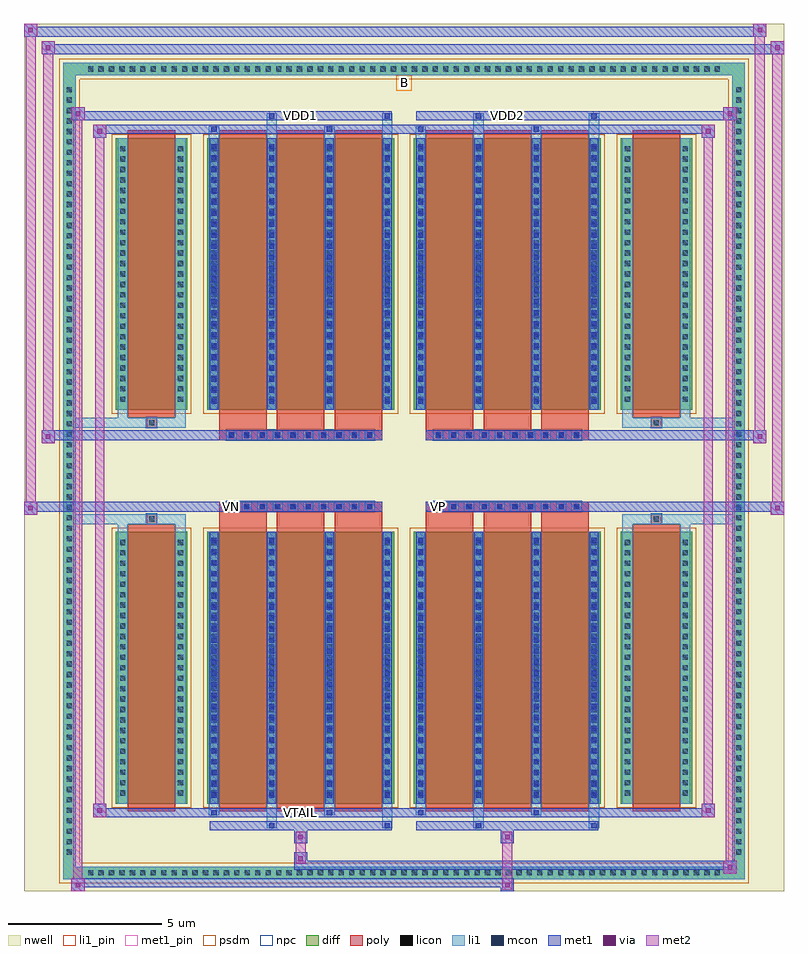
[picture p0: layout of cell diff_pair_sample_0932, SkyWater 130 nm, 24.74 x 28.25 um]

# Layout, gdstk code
import gdstk
lib = gdstk.Library(unit=1e-6, precision=5e-09)
def R(c, l, rs):  # rectangles x0, y0, x1, y1
    for r in rs: c.add(gdstk.rectangle(r[:2], r[2:], *l))
def A(c, l, x, y, w, h, nx, ny, dx, dy):  # array of equal rectangles
    R(c, l, [(x+i*dx, y+j*dy, x+i*dx+w, y+j*dy+h) for i in range(nx) for j in range(ny)])
def P(c, l, *ps):  # polygons
    for p in ps: c.add(gdstk.Polygon(p, *l))
nwell = (64, 20)
diff = (65, 20)
poly = (66, 20)
licon = (66, 44)
li1_pin = (67, 16)
li1 = (67, 20)
mcon = (67, 44)
met1_pin = (68, 16)
met1 = (68, 20)
via = (68, 44)
met2 = (69, 20)
psdm = (94, 20)
npc = (95, 20)

diff_pair_sample_0932 = lib.new_cell('diff_pair_sample_0932')
R(diff_pair_sample_0932, nwell, [(-12.37,-13.69,12.37,14.56), (-9.69,-11.88,-0.01,-0.8), (0.01,-11.88,9.69,-0.8), (-9.69,0.8,-0.01,11.88), (0.01,0.8,9.69,11.88)])
A(diff_pair_sample_0932, diff, -10.405, -13.29, 0.41, 0.41, 61, 2, 0.34, 26.17)
A(diff_pair_sample_0932, diff, -11.1, -12.615, 0.41, 0.41, 1, 74, 0, 0.34)
A(diff_pair_sample_0932, diff, 10.69, -12.615, 0.41, 0.41, 1, 74, 0, 0.34)
R(diff_pair_sample_0932, diff, [(-10.405,-13.29,10.405,-12.88), (-11.1,-12.615,-10.69,12.615), (10.69,-12.615,11.1,12.615), (-9.38,-10.835,-7.05,-1.985), (-6.41,-10.835,-0.32,-1.985), (0.32,-10.835,6.41,-1.985), (7.05,-10.835,9.38,-1.985), (-9.38,1.985,-7.05,10.835), (-6.41,1.985,-0.32,10.835), (0.32,1.985,6.41,10.835), (7.05,1.985,9.38,10.835), (-10.405,12.88,10.405,13.29)])
P(diff_pair_sample_0932, diff, [(11.1,13.29),(-11.1,13.29),(-11.1,-12.88),(-10.69,-12.88),(-10.69,12.88),(10.69,12.88),(10.69,-12.88),(-10.69,-12.88),(-11.1,-12.88),(-11.1,-13.29),(11.1,-13.29)])
A(diff_pair_sample_0932, poly, -6.02, -11.085, 1.55, 9.35, 3, 2, 1.88, 12.82)
A(diff_pair_sample_0932, poly, 0.71, -11.085, 1.55, 9.35, 3, 2, 1.88, 12.82)
A(diff_pair_sample_0932, poly, -6.02, -1.735, 1.55, 0.405, 3, 2, 1.88, 3.065)
A(diff_pair_sample_0932, poly, 0.71, -1.735, 1.55, 0.405, 3, 2, 1.88, 3.065)
A(diff_pair_sample_0932, poly, -5.78, -1.33, 0.33, 0.33, 10, 2, 0.5, 2.33)
A(diff_pair_sample_0932, poly, 0.95, -1.33, 0.33, 0.33, 10, 2, 0.5, 2.33)
R(diff_pair_sample_0932, poly, [(-8.99,-11.085,-7.44,-1.735), (7.44,-11.085,8.99,-1.735), (-8.38,-1.735,-8.05,-1.405), (-8.38,-1.735,-8.05,-1.405), (8.05,-1.735,8.38,-1.405), (8.05,-1.735,8.38,-1.405), (-6.02,-1.33,-0.71,-1), (0.71,-1.33,6.02,-1), (-6.02,1,-0.71,1.33), (0.71,1,6.02,1.33), (-8.38,1.405,-8.05,1.735), (-8.38,1.405,-8.05,1.735), (8.05,1.405,8.38,1.735), (8.05,1.405,8.38,1.735), (-8.99,1.735,-7.44,11.085), (7.44,1.735,8.99,11.085)])
A(diff_pair_sample_0932, licon, -10.285, -13.17, 0.17, 0.17, 61, 2, 0.34, 26.17)
A(diff_pair_sample_0932, licon, -10.98, -12.495, 0.17, 0.17, 1, 74, 0, 0.34)
A(diff_pair_sample_0932, licon, 10.81, -12.495, 0.17, 0.17, 1, 74, 0, 0.34)
A(diff_pair_sample_0932, licon, -9.24, -10.575, 0.17, 0.17, 1, 25, 0, 0.34)
A(diff_pair_sample_0932, licon, -7.36, -10.575, 0.17, 0.17, 1, 25, 0, 0.34)
A(diff_pair_sample_0932, licon, -6.27, -10.575, 0.17, 0.17, 4, 25, 1.88, 0.34)
A(diff_pair_sample_0932, licon, 0.46, -10.575, 0.17, 0.17, 4, 25, 1.88, 0.34)
A(diff_pair_sample_0932, licon, 7.19, -10.575, 0.17, 0.17, 1, 25, 0, 0.34)
A(diff_pair_sample_0932, licon, 9.07, -10.575, 0.17, 0.17, 1, 25, 0, 0.34)
A(diff_pair_sample_0932, licon, -5.7, -1.25, 0.17, 0.17, 10, 2, 0.5, 2.33)
A(diff_pair_sample_0932, licon, 1.03, -1.25, 0.17, 0.17, 10, 2, 0.5, 2.33)
A(diff_pair_sample_0932, licon, -9.24, 2.245, 0.17, 0.17, 1, 25, 0, 0.34)
A(diff_pair_sample_0932, licon, -7.36, 2.245, 0.17, 0.17, 1, 25, 0, 0.34)
A(diff_pair_sample_0932, licon, -6.27, 2.245, 0.17, 0.17, 4, 25, 1.88, 0.34)
A(diff_pair_sample_0932, licon, 0.46, 2.245, 0.17, 0.17, 4, 25, 1.88, 0.34)
A(diff_pair_sample_0932, licon, 7.19, 2.245, 0.17, 0.17, 1, 25, 0, 0.34)
A(diff_pair_sample_0932, licon, 9.07, 2.245, 0.17, 0.17, 1, 25, 0, 0.34)
R(diff_pair_sample_0932, licon, [(-8.3,-1.655,-8.13,-1.485), (8.13,-1.655,8.3,-1.485), (-8.3,1.485,-8.13,1.655), (8.13,1.485,8.3,1.655)])
R(diff_pair_sample_0932, li1_pin, [(-0.25,12.38,0.25,12.88)])
A(diff_pair_sample_0932, li1, -10.365, -13.25, 0.33, 0.33, 61, 2, 0.34, 26.17)
A(diff_pair_sample_0932, li1, -11.06, -12.575, 0.33, 0.33, 1, 74, 0, 0.34)
A(diff_pair_sample_0932, li1, 10.73, -12.575, 0.33, 0.33, 1, 74, 0, 0.34)
A(diff_pair_sample_0932, li1, -6.35, -10.835, 0.33, 8.85, 4, 2, 1.88, 12.82)
A(diff_pair_sample_0932, li1, 0.38, -10.835, 0.33, 8.85, 4, 2, 1.88, 12.82)
A(diff_pair_sample_0932, li1, -9.32, -10.655, 0.33, 0.33, 1, 25, 0, 0.34)
A(diff_pair_sample_0932, li1, -7.44, -10.655, 0.33, 0.33, 1, 25, 0, 0.34)
A(diff_pair_sample_0932, li1, -6.35, -10.655, 0.33, 0.33, 4, 25, 1.88, 0.34)
A(diff_pair_sample_0932, li1, 0.38, -10.655, 0.33, 0.33, 4, 25, 1.88, 0.34)
A(diff_pair_sample_0932, li1, 7.11, -10.655, 0.33, 0.33, 1, 25, 0, 0.34)
A(diff_pair_sample_0932, li1, 8.99, -10.655, 0.33, 0.33, 1, 25, 0, 0.34)
A(diff_pair_sample_0932, li1, -6.27, -10.635, 0.17, 0.17, 4, 24, 1.88, 0.36)
A(diff_pair_sample_0932, li1, -6.27, -10.635, 0.17, 8.45, 4, 2, 1.88, 12.82)
A(diff_pair_sample_0932, li1, 0.46, -10.635, 0.17, 0.17, 4, 24, 1.88, 0.36)
A(diff_pair_sample_0932, li1, 0.46, -10.635, 0.17, 8.45, 4, 2, 1.88, 12.82)
A(diff_pair_sample_0932, li1, -5.78, -1.33, 0.33, 0.33, 10, 2, 0.5, 2.33)
A(diff_pair_sample_0932, li1, 0.95, -1.33, 0.33, 0.33, 10, 2, 0.5, 2.33)
A(diff_pair_sample_0932, li1, -9.32, 2.165, 0.33, 0.33, 1, 25, 0, 0.34)
A(diff_pair_sample_0932, li1, -7.44, 2.165, 0.33, 0.33, 1, 25, 0, 0.34)
A(diff_pair_sample_0932, li1, -6.35, 2.165, 0.33, 0.33, 4, 25, 1.88, 0.34)
A(diff_pair_sample_0932, li1, 0.38, 2.165, 0.33, 0.33, 4, 25, 1.88, 0.34)
A(diff_pair_sample_0932, li1, 7.11, 2.165, 0.33, 0.33, 1, 25, 0, 0.34)
A(diff_pair_sample_0932, li1, 8.99, 2.165, 0.33, 0.33, 1, 25, 0, 0.34)
A(diff_pair_sample_0932, li1, -6.27, 2.185, 0.17, 0.17, 4, 24, 1.88, 0.36)
A(diff_pair_sample_0932, li1, 0.46, 2.185, 0.17, 0.17, 4, 24, 1.88, 0.36)
R(diff_pair_sample_0932, li1, [(-11.1,-13.29,-10.69,-12.88), (-11.1,-13.29,-10.69,-12.88), (-10.69,-13.29,10.69,-12.88), (10.69,-13.29,11.1,-12.88), (10.69,-13.29,11.1,-12.88), (-11.1,-12.88,-10.69,12.88), (10.69,-12.88,11.1,12.88), (-4.47,-11.64,-4.14,-10.835), (-4.39,-11.64,-4.22,-11.47), (-0.71,-11.64,-0.38,-10.835), (-0.63,-11.64,-0.46,-11.47), (2.26,-11.64,2.59,-10.835), (2.34,-11.64,2.51,-11.47), (6.02,-11.64,6.35,-10.835), (6.1,-11.64,6.27,-11.47), (-6.35,-11.21,-6.02,-10.835), (-6.27,-11.21,-6.1,-11.04), (-2.59,-11.21,-2.26,-10.835), (-2.51,-11.21,-2.34,-11.04), (0.38,-11.21,0.71,-10.835), (0.46,-11.21,0.63,-11.04), (4.14,-11.21,4.47,-10.835), (4.22,-11.21,4.39,-11.04), (-9.32,-10.835,-8.99,-1.985), (-7.44,-10.835,-7.11,-1.985), (7.11,-10.835,7.44,-1.985), (8.99,-10.835,9.32,-1.985), (-9.32,-1.985,-8.99,-1.405), (-7.44,-1.985,-7.11,-1.405), (7.11,-1.985,7.44,-1.405), (8.99,-1.985,9.32,-1.405), (-11.1,-1.735,-8.38,-1.405), (-9.32,-1.735,-8.38,-1.405), (-8.38,-1.735,-8.05,-1.405), (-8.05,-1.735,-7.11,-1.405), (7.11,-1.735,8.05,-1.405), (8.05,-1.735,8.38,-1.405), (8.05,-1.735,11.1,-1.405), (8.38,-1.735,9.32,-1.405), (-11.1,1.405,-8.38,1.735), (-9.32,1.405,-8.38,1.735), (-9.32,1.405,-8.99,1.985), (-8.38,1.405,-8.05,1.735), (-8.05,1.405,-7.11,1.735), (-7.44,1.405,-7.11,1.985), (7.11,1.405,8.05,1.735), (7.11,1.405,7.44,1.985), (8.05,1.405,8.38,1.735), (8.05,1.405,11.1,1.735), (8.38,1.405,9.32,1.735), (8.99,1.405,9.32,1.985), (-9.32,1.985,-8.99,10.835), (-7.44,1.985,-7.11,10.835), (7.11,1.985,7.44,10.835), (8.99,1.985,9.32,10.835), (-6.35,10.835,-6.02,11.21), (-4.47,10.835,-4.14,11.64), (-2.59,10.835,-2.26,11.21), (-0.71,10.835,-0.38,11.64), (0.38,10.835,0.71,11.21), (2.26,10.835,2.59,11.64), (4.14,10.835,4.47,11.21), (6.02,10.835,6.35,11.64), (-6.27,11.04,-6.1,11.21), (-2.51,11.04,-2.34,11.21), (0.46,11.04,0.63,11.21), (4.22,11.04,4.39,11.21), (-4.39,11.47,-4.22,11.64), (-0.63,11.47,-0.46,11.64), (2.34,11.47,2.51,11.64), (6.1,11.47,6.27,11.64), (-11.1,12.88,-10.69,13.29), (-11.1,12.88,-10.69,13.29), (-10.69,12.88,10.69,13.29), (10.69,12.88,11.1,13.29), (10.69,12.88,11.1,13.29)])
A(diff_pair_sample_0932, mcon, -6.27, -10.635, 0.17, 0.17, 4, 24, 1.88, 0.36)
A(diff_pair_sample_0932, mcon, 0.46, -10.635, 0.17, 0.17, 4, 24, 1.88, 0.36)
A(diff_pair_sample_0932, mcon, -5.7, -1.25, 0.17, 0.17, 10, 2, 0.5, 2.33)
A(diff_pair_sample_0932, mcon, 1.03, -1.25, 0.17, 0.17, 10, 2, 0.5, 2.33)
A(diff_pair_sample_0932, mcon, -6.27, 2.185, 0.17, 0.17, 4, 24, 1.88, 0.36)
A(diff_pair_sample_0932, mcon, 0.46, 2.185, 0.17, 0.17, 4, 24, 1.88, 0.36)
R(diff_pair_sample_0932, mcon, [(-4.39,-11.64,-4.22,-11.47), (-0.63,-11.64,-0.46,-11.47), (2.34,-11.64,2.51,-11.47), (6.1,-11.64,6.27,-11.47), (-6.27,-11.21,-6.1,-11.04), (-2.51,-11.21,-2.34,-11.04), (0.46,-11.21,0.63,-11.04), (4.22,-11.21,4.39,-11.04), (-6.27,11.04,-6.1,11.21), (-2.51,11.04,-2.34,11.21), (0.46,11.04,0.63,11.21), (4.22,11.04,4.39,11.21), (-4.39,11.47,-4.22,11.64), (-0.63,11.47,-0.46,11.64), (2.34,11.47,2.51,11.64), (6.1,11.47,6.27,11.64)])
R(diff_pair_sample_0932, met1_pin, [(-3.5,-11.25,-3.23,-10.98), (-5.75,-1.29,-5.48,-1.02), (0.98,-1.29,1.25,-1.02), (-3.5,11.43,-3.23,11.7), (3.23,11.43,3.5,11.7)])
A(diff_pair_sample_0932, met1, -6.33, -10.835, 0.29, 8.85, 4, 2, 1.88, 12.82)
A(diff_pair_sample_0932, met1, 0.4, -10.835, 0.29, 8.85, 4, 2, 1.88, 12.82)
A(diff_pair_sample_0932, met1, -6.33, -10.695, 0.29, 0.29, 4, 24, 1.88, 0.36)
A(diff_pair_sample_0932, met1, 0.4, -10.695, 0.29, 0.29, 4, 24, 1.88, 0.36)
A(diff_pair_sample_0932, met1, -5.76, -1.31, 0.29, 0.29, 10, 2, 0.5, 2.33)
A(diff_pair_sample_0932, met1, 0.97, -1.31, 0.29, 0.29, 10, 2, 0.5, 2.33)
A(diff_pair_sample_0932, met1, -6.33, 2.125, 0.29, 0.29, 4, 24, 1.88, 0.36)
A(diff_pair_sample_0932, met1, 0.4, 2.125, 0.29, 0.29, 4, 24, 1.88, 0.36)
R(diff_pair_sample_0932, met1, [(-10.83,-13.69,-10.4,-13.26), (3.15,-13.69,3.58,-13.26), (-10.83,-13.55,3.58,-13.26), (10.4,-13.12,10.83,-12.69), (-3.58,-12.98,10.83,-12.69), (-3.58,-12.84,-3.15,-12.41), (-3.58,-12.13,-3.15,-11.7), (3.15,-12.13,3.58,-11.7), (-6.33,-11.7,-0.4,-11.41), (-4.45,-11.7,-4.16,-11.41), (-0.69,-11.7,-0.4,-11.41), (0.4,-11.7,6.33,-11.41), (2.28,-11.7,2.57,-11.41), (6.04,-11.7,6.33,-11.41), (-10.12,-11.27,-9.69,-10.84), (-10.12,-11.27,-6.33,-10.98), (-6.33,-11.27,-6.04,-10.98), (-6.33,-11.27,-0.4,-10.98), (-2.57,-11.27,-2.28,-10.98), (-0.4,-11.27,0.4,-10.98), (0.4,-11.27,0.69,-10.98), (0.4,-11.27,6.33,-10.98), (4.16,-11.27,4.45,-10.98), (6.33,-11.27,10.12,-10.98), (9.69,-11.27,10.12,-10.84), (-12.37,-1.43,-11.94,-1), (11.94,-1.43,12.37,-1), (-12.37,-1.33,-0.71,-1), (-6.02,-1.33,-0.71,-1), (0.71,-1.33,6.02,-1), (0.71,-1.33,12.37,-1), (-11.8,0.9,-11.37,1.33), (11.37,0.9,11.8,1.33), (-11.8,1,-6.02,1.33), (-6.02,1,-0.71,1.33), (0.71,1,6.02,1.33), (6.02,1,11.8,1.33), (-10.12,10.84,-9.69,11.27), (9.69,10.84,10.12,11.27), (-10.12,10.98,-6.33,11.27), (-6.33,10.98,-6.04,11.27), (-6.33,10.98,-0.4,11.27), (-2.57,10.98,-2.28,11.27), (-0.4,10.98,0.4,11.27), (0.4,10.98,0.69,11.27), (0.4,10.98,6.33,11.27), (4.16,10.98,4.45,11.27), (6.33,10.98,10.12,11.27), (-10.83,11.41,-10.4,11.84), (-10.83,11.41,-6.33,11.7), (-6.33,11.41,-0.4,11.7), (-4.45,11.41,-4.16,11.7), (-0.69,11.41,-0.4,11.7), (0.4,11.41,6.33,11.7), (2.28,11.41,2.57,11.7), (6.04,11.41,6.33,11.7), (6.33,11.41,10.83,11.7), (10.4,11.41,10.83,11.84), (-11.8,13.56,-11.37,13.99), (-11.8,13.56,-9.69,13.89), (-9.69,13.56,9.69,13.89), (9.69,13.56,12.37,13.89), (11.94,13.56,12.37,13.99), (-12.37,14.13,-11.94,14.56), (-12.37,14.13,-9.69,14.46), (-9.69,14.13,9.69,14.46), (9.69,14.13,11.8,14.46), (11.37,14.13,11.8,14.56)])
R(diff_pair_sample_0932, via, [(-10.69,-13.55,-10.54,-13.4), (3.29,-13.55,3.44,-13.4), (10.54,-12.98,10.69,-12.83), (-3.44,-12.7,-3.29,-12.55), (-3.44,-11.99,-3.29,-11.84), (3.29,-11.99,3.44,-11.84), (-9.98,-11.13,-9.83,-10.98), (9.83,-11.13,9.98,-10.98), (-12.23,-1.29,-12.08,-1.14), (12.08,-1.29,12.23,-1.14), (-11.66,1.04,-11.51,1.19), (11.51,1.04,11.66,1.19), (-9.98,10.98,-9.83,11.13), (9.83,10.98,9.98,11.13), (-10.69,11.55,-10.54,11.7), (10.54,11.55,10.69,11.7), (-11.66,13.7,-11.51,13.85), (12.08,13.7,12.23,13.85), (-12.23,14.27,-12.08,14.42), (11.51,14.27,11.66,14.42)])
R(diff_pair_sample_0932, met2, [(-10.83,-13.69,-10.4,-13.26), (-10.76,-13.69,-10.47,11.84), (-10.47,-13.69,-10.4,-13.26), (-10.78,-13.64,-10.45,-13.31), (3.2,-13.64,3.53,-13.31), (3.2,-13.31,3.53,-12.08), (10.4,-13.12,10.83,-12.69), (10.47,-13.12,10.76,11.84), (10.76,-13.12,10.83,-12.69), (10.45,-13.07,10.78,-12.74), (-3.53,-12.79,-3.2,-12.46), (-3.53,-12.46,-3.2,-12.08), (-3.53,-12.08,-3.2,-11.75), (3.2,-12.08,3.53,-11.75), (-10.12,-11.27,-9.69,-10.84), (-10.05,-11.27,-9.76,11.27), (-9.76,-11.27,-9.69,-10.84), (9.69,-11.27,10.12,-10.84), (9.76,-11.27,10.05,11.27), (10.05,-11.27,10.12,-10.84), (-10.07,-11.22,-9.74,-10.89), (9.74,-11.22,10.07,-10.89), (-12.37,-1.43,-11.94,-1), (-12.32,-1.43,-11.99,14.56), (-11.99,-1.43,-11.94,-1), (11.94,-1.43,12.37,-1), (11.99,-1.43,12.32,13.99), (12.32,-1.43,12.37,-1), (-12.32,-1.38,-11.99,-1.05), (11.99,-1.38,12.32,-1.05), (-11.8,0.9,-11.37,1.33), (-11.75,0.9,-11.42,13.99), (-11.42,0.9,-11.37,1.33), (11.37,0.9,11.8,1.33), (11.42,0.9,11.75,14.56), (11.75,0.9,11.8,1.33), (-11.75,0.95,-11.42,1.28), (11.42,0.95,11.75,1.28), (-10.12,10.84,-9.69,11.27), (-9.76,10.84,-9.69,11.27), (9.69,10.84,10.12,11.27), (10.05,10.84,10.12,11.27), (-10.07,10.89,-9.74,11.22), (9.74,10.89,10.07,11.22), (-10.83,11.41,-10.4,11.84), (-10.47,11.41,-10.4,11.84), (10.4,11.41,10.83,11.84), (10.76,11.41,10.83,11.84), (-10.78,11.46,-10.45,11.79), (10.45,11.46,10.78,11.79), (-11.8,13.56,-11.37,13.99), (-11.42,13.56,-11.37,13.99), (11.94,13.56,12.37,13.99), (12.32,13.56,12.37,13.99), (-11.75,13.61,-11.42,13.94), (11.99,13.61,12.32,13.94), (-12.37,14.13,-11.94,14.56), (-11.99,14.13,-11.94,14.56), (11.37,14.13,11.8,14.56), (11.75,14.13,11.8,14.56), (-12.32,14.18,-11.99,14.51), (11.42,14.18,11.75,14.51)])
R(diff_pair_sample_0932, psdm, [(-9.51,-10.965,-6.92,-1.855), (-6.54,-10.965,-0.19,-1.855), (0.19,-10.965,6.54,-1.855), (6.92,-10.965,9.51,-1.855), (-9.51,1.855,-6.92,10.965), (-6.54,1.855,-0.19,10.965), (0.19,1.855,6.54,10.965), (6.92,1.855,9.51,10.965)])
P(diff_pair_sample_0932, psdm, [(11.23,13.42),(-11.23,13.42),(-11.23,-12.75),(-10.56,-12.75),(-10.56,12.75),(10.56,12.75),(10.56,-12.75),(-10.56,-12.75),(-11.23,-12.75),(-11.23,-13.42),(11.23,-13.42)])
A(diff_pair_sample_0932, npc, -5.8, -1.35, 0.37, 0.37, 10, 2, 0.5, 2.33)
A(diff_pair_sample_0932, npc, 0.93, -1.35, 0.37, 0.37, 10, 2, 0.5, 2.33)
R(diff_pair_sample_0932, npc, [(-8.4,-1.755,-8.03,-1.385), (8.03,-1.755,8.4,-1.385), (-5.8,-1.35,-4.93,-0.98), (-5.8,-1.35,-4.93,-0.98), (-5.3,-1.35,-4.43,-0.98), (-5.3,-1.35,-4.43,-0.98), (-4.8,-1.35,-3.93,-0.98), (-4.8,-1.35,-3.93,-0.98), (-4.3,-1.35,-3.43,-0.98), (-4.3,-1.35,-3.43,-0.98), (-3.8,-1.35,-2.93,-0.98), (-3.8,-1.35,-2.93,-0.98), (-3.3,-1.35,-2.43,-0.98), (-3.3,-1.35,-2.43,-0.98), (-2.8,-1.35,-1.93,-0.98), (-2.8,-1.35,-1.93,-0.98), (-2.3,-1.35,-1.43,-0.98), (-2.3,-1.35,-1.43,-0.98), (-1.8,-1.35,-0.93,-0.98), (-1.8,-1.35,-0.93,-0.98), (0.93,-1.35,1.8,-0.98), (0.93,-1.35,1.8,-0.98), (1.43,-1.35,2.3,-0.98), (1.43,-1.35,2.3,-0.98), (1.93,-1.35,2.8,-0.98), (1.93,-1.35,2.8,-0.98), (2.43,-1.35,3.3,-0.98), (2.43,-1.35,3.3,-0.98), (2.93,-1.35,3.8,-0.98), (2.93,-1.35,3.8,-0.98), (3.43,-1.35,4.3,-0.98), (3.43,-1.35,4.3,-0.98), (3.93,-1.35,4.8,-0.98), (3.93,-1.35,4.8,-0.98), (4.43,-1.35,5.3,-0.98), (4.43,-1.35,5.3,-0.98), (4.93,-1.35,5.8,-0.98), (4.93,-1.35,5.8,-0.98), (-5.8,0.98,-4.93,1.35), (-5.8,0.98,-4.93,1.35), (-5.3,0.98,-4.43,1.35), (-5.3,0.98,-4.43,1.35), (-4.8,0.98,-3.93,1.35), (-4.8,0.98,-3.93,1.35), (-4.3,0.98,-3.43,1.35), (-4.3,0.98,-3.43,1.35), (-3.8,0.98,-2.93,1.35), (-3.8,0.98,-2.93,1.35), (-3.3,0.98,-2.43,1.35), (-3.3,0.98,-2.43,1.35), (-2.8,0.98,-1.93,1.35), (-2.8,0.98,-1.93,1.35), (-2.3,0.98,-1.43,1.35), (-2.3,0.98,-1.43,1.35), (-1.8,0.98,-0.93,1.35), (-1.8,0.98,-0.93,1.35), (0.93,0.98,1.8,1.35), (0.93,0.98,1.8,1.35), (1.43,0.98,2.3,1.35), (1.43,0.98,2.3,1.35), (1.93,0.98,2.8,1.35), (1.93,0.98,2.8,1.35), (2.43,0.98,3.3,1.35), (2.43,0.98,3.3,1.35), (2.93,0.98,3.8,1.35), (2.93,0.98,3.8,1.35), (3.43,0.98,4.3,1.35), (3.43,0.98,4.3,1.35), (3.93,0.98,4.8,1.35), (3.93,0.98,4.8,1.35), (4.43,0.98,5.3,1.35), (4.43,0.98,5.3,1.35), (4.93,0.98,5.8,1.35), (4.93,0.98,5.8,1.35), (-8.4,1.385,-8.03,1.755), (8.03,1.385,8.4,1.755)])
diff_pair_sample_0932.add(gdstk.Label('VTAIL', (-3.365,-11.115), layer=68, texttype=5))
diff_pair_sample_0932.add(gdstk.Label('VN', (-5.615,-1.155), layer=68, texttype=5))
diff_pair_sample_0932.add(gdstk.Label('VP', (1.115,-1.155), layer=68, texttype=5))
diff_pair_sample_0932.add(gdstk.Label('B', (0,12.63), layer=67, texttype=5))
diff_pair_sample_0932.add(gdstk.Label('VDD2', (3.365,11.565), layer=68, texttype=5))
diff_pair_sample_0932.add(gdstk.Label('VDD1', (-3.365,11.565), layer=68, texttype=5))

lib.write_gds('diff_pair_sample_0932.gds')
